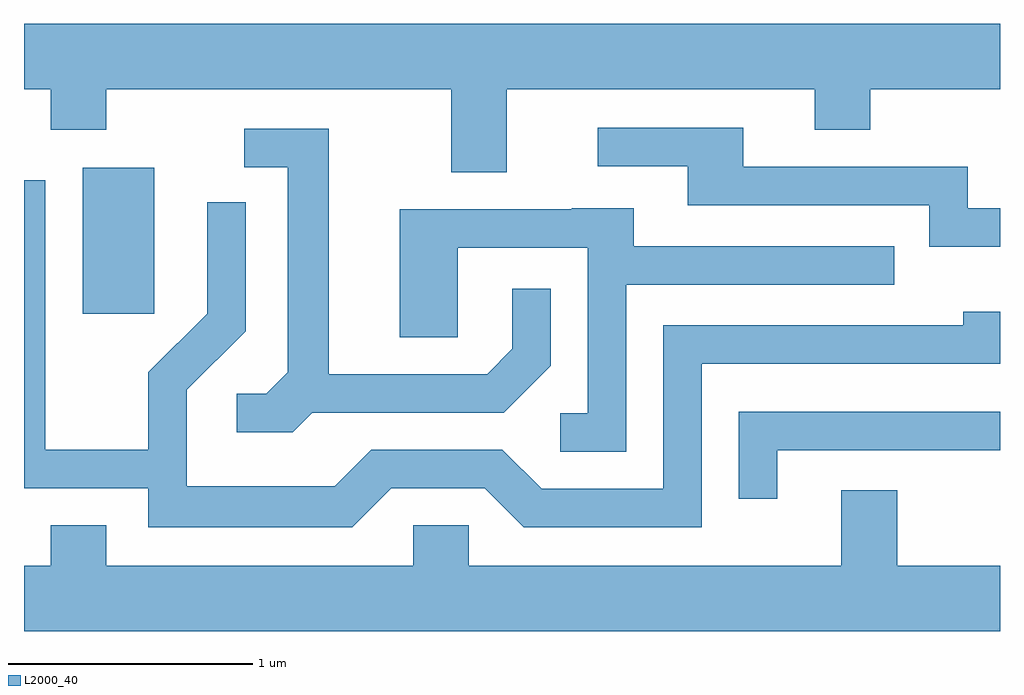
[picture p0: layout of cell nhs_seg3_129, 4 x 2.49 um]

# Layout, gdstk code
import gdstk
lib = gdstk.Library(unit=1e-6, precision=1e-09)
def R(c, l, rs):  # rectangles x0, y0, x1, y1
    for r in rs: c.add(gdstk.rectangle(r[:2], r[2:], *l))
def P(c, l, *ps):  # polygons
    for p in ps: c.add(gdstk.Polygon(p, *l))
L2000_40 = (2000, 40)

nhs_seg3_129 = lib.new_cell('nhs_seg3_129')
R(nhs_seg3_129, L2000_40, [(187.851,1240.536,188.144,1241.134)])
P(nhs_seg3_129, L2000_40, [(189.589,1241.456),(190.851,1241.456),(190.851,1241.291),(191.079,1241.291),(191.079,1241.456),(191.611,1241.456),(191.611,1241.724),(187.611,1241.724),(187.611,1241.456),(187.721,1241.456),(187.721,1241.291),(187.949,1241.291),(187.949,1241.456),(189.361,1241.456),(189.361,1241.116),(189.589,1241.116)],
  [(191.611,1240.969),(191.479,1240.969),(191.479,1241.139),(190.559,1241.139),(190.559,1241.299),(189.963,1241.299),(189.963,1241.141),(190.331,1241.141),(190.331,1240.981),(191.321,1240.981),(191.321,1240.811),(191.611,1240.811)],
  [(188.792,1240.131),(189.577,1240.131),(189.769,1240.324),(189.769,1240.638),(189.611,1240.638),(189.611,1240.392),(189.509,1240.289),(188.859,1240.289),(188.859,1241.294),(188.513,1241.294),(188.513,1241.136),(188.691,1241.136),(188.691,1240.297),(188.604,1240.209),(188.483,1240.209),(188.483,1240.051),(188.712,1240.051)],
  [(189.117,1239.821),(189.499,1239.821),(189.659,1239.661),(190.389,1239.661),(190.389,1240.331),(191.611,1240.331),(191.611,1240.544),(191.461,1240.544),(191.461,1240.489),(190.231,1240.489),(190.231,1239.819),(189.732,1239.819),(189.572,1239.979),(189.034,1239.979),(188.884,1239.829),(188.279,1239.829),(188.279,1240.224),(188.519,1240.464),(188.519,1240.993),(188.361,1240.993),(188.361,1240.537),(188.121,1240.297),(188.121,1239.979),(187.699,1239.979),(187.699,1241.084),(187.611,1241.084),(187.611,1239.821),(188.121,1239.821),(188.121,1239.661),(188.957,1239.661)],
  [(190.079,1240.656),(191.178,1240.656),(191.178,1240.814),(190.109,1240.814),(190.109,1240.969),(189.855,1240.969),(189.855,1240.964),(189.151,1240.964),(189.151,1240.441),(189.389,1240.441),(189.389,1240.806),(189.921,1240.806),(189.921,1240.129),(189.808,1240.129),(189.808,1239.971),(190.079,1239.971)],
  [(190.699,1239.976),(191.611,1239.976),(191.611,1240.134),(190.541,1240.134),(190.541,1239.778),(190.699,1239.778)],
  [(191.611,1239.504),(191.189,1239.504),(191.189,1239.814),(190.961,1239.814),(190.961,1239.504),(189.434,1239.504),(189.434,1239.669),(189.206,1239.669),(189.206,1239.504),(187.949,1239.504),(187.949,1239.669),(187.721,1239.669),(187.721,1239.504),(187.611,1239.504),(187.611,1239.236),(191.611,1239.236)])

lib.write_gds('nhs_seg3_129.gds')
